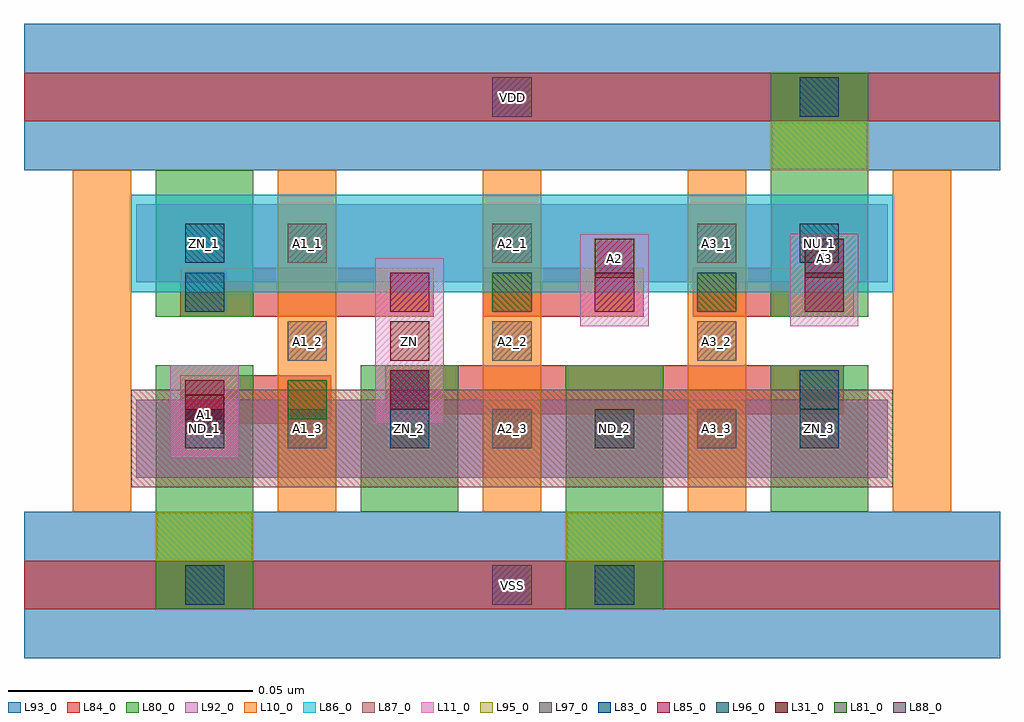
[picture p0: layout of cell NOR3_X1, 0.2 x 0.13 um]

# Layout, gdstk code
import gdstk
lib = gdstk.Library(unit=1e-6, precision=1e-09)
def R(c, l, rs):  # rectangles x0, y0, x1, y1
    for r in rs: c.add(gdstk.rectangle(r[:2], r[2:], *l))
def A(c, l, x, y, w, h, nx, ny, dx, dy):  # array of equal rectangles
    R(c, l, [(x+i*dx, y+j*dy, x+i*dx+w, y+j*dy+h) for i in range(nx) for j in range(ny)])
L10_0 = (10, 0)
L11_0 = (11, 0)
L31_0 = (31, 0)
L80_0 = (80, 0)
L81_0 = (81, 0)
L83_0 = (83, 0)
L84_0 = (84, 0)
L85_0 = (85, 0)
L86_0 = (86, 0)
L87_0 = (87, 0)
L88_0 = (88, 0)
L92_0 = (92, 0)
L93_0 = (93, 0)
L95_0 = (95, 0)
L96_0 = (96, 0)
L97_0 = (97, 0)

nor3_x1 = lib.new_cell('NOR3_X1')
A(nor3_x1, L10_0, -0.027, 0.015, 0.012, 0.07, 5, 1, 0.042, 0)
R(nor3_x1, L11_0, [(-0.007,0.026,0.007,0.045), (0.035,0.033,0.049,0.067), (0.035,0.033,0.049,0.067), (0.077,0.053,0.091,0.072), (0.12,0.053,0.134,0.072)])
R(nor3_x1, L31_0, [(-0.004,0.031,0.004,0.039), (0.038,0.046,0.046,0.054), (0.08,0.063,0.088,0.071), (0.123,0.063,0.131,0.071)])
A(nor3_x1, L80_0, -0.01, 0.015, 0.02, 0.03, 4, 1, 0.042, 0)
R(nor3_x1, L80_0, [(-0.01,-0.005,0.01,0.025), (0.074,-0.005,0.094,0.025), (-0.01,0.055,0.01,0.085), (0.116,0.055,0.136,0.085), (0.116,0.075,0.136,0.105)])
R(nor3_x1, L81_0, [(0.017,0.034,0.025,0.042), (0.059,0.056,0.067,0.064), (0.101,0.056,0.109,0.064)])
R(nor3_x1, L83_0, [(-0.004,-0.004,0.004,0.004), (0.08,-0.004,0.088,0.004), (0.038,0.036,0.046,0.044), (0.038,0.036,0.046,0.044), (0.122,0.036,0.13,0.044), (0.122,0.036,0.13,0.044), (-0.004,0.056,0.004,0.064), (-0.004,0.056,0.004,0.064), (0.122,0.096,0.13,0.104)])
R(nor3_x1, L84_0, [(-0.037,-0.005,0.163,0.005), (-0.005,0.033,0.026,0.043), (0.037,0.035,0.068,0.045), (0.037,0.035,0.068,0.045), (0.058,0.035,0.089,0.045), (0.058,0.035,0.089,0.045), (0.079,0.035,0.11,0.045), (0.079,0.035,0.11,0.045), (0.1,0.035,0.131,0.045), (0.1,0.035,0.131,0.045), (-0.005,0.055,0.026,0.065), (-0.005,0.055,0.026,0.065), (0.016,0.055,0.047,0.065), (0.016,0.055,0.047,0.065), (0.057,0.055,0.09,0.065), (0.1,0.055,0.133,0.065), (-0.037,0.095,0.163,0.105)])
R(nor3_x1, L85_0, [(-0.004,0.034,0.004,0.042), (0.038,0.036,0.046,0.044), (0.038,0.036,0.046,0.044), (0.038,0.056,0.046,0.064), (0.038,0.056,0.046,0.064), (0.08,0.056,0.088,0.064), (0.123,0.056,0.131,0.064)])
R(nor3_x1, L86_0, [(-0.015,0.06,0.141,0.08)])
R(nor3_x1, L87_0, [(-0.015,0.02,0.141,0.04)])
R(nor3_x1, L88_0, [(0.059,-0.004,0.067,0.004), (0.059,0.096,0.067,0.104)])
R(nor3_x1, L92_0, [(-0.014,0.022,0.14,0.038), (-0.014,0.062,0.14,0.078)])
R(nor3_x1, L93_0, [(-0.037,-0.015,0.163,0.015), (-0.037,0.085,0.163,0.115)])
R(nor3_x1, L95_0, [(-0.01,0.005,0.01,0.015), (0.074,0.005,0.094,0.015), (0.116,0.085,0.136,0.095)])
A(nor3_x1, L96_0, -0.004, 0.028, 0.008, 0.008, 4, 1, 0.042, 0)
R(nor3_x1, L96_0, [(-0.004,0.066,0.004,0.074), (0.122,0.066,0.13,0.074)])
A(nor3_x1, L97_0, 0.017, 0.028, 0.008, 0.008, 3, 2, 0.042, 0.018)
A(nor3_x1, L97_0, 0.017, 0.066, 0.008, 0.008, 3, 1, 0.042, 0)
nor3_x1.add(gdstk.Label('A3_1', (0.105,0.07), layer=97, texttype=0))
nor3_x1.add(gdstk.Label('A3_2', (0.105,0.05), layer=97, texttype=0))
nor3_x1.add(gdstk.Label('A3_3', (0.105,0.032), layer=97, texttype=0))
nor3_x1.add(gdstk.Label('A2_1', (0.063,0.07), layer=97, texttype=0))
nor3_x1.add(gdstk.Label('A2_2', (0.063,0.05), layer=97, texttype=0))
nor3_x1.add(gdstk.Label('A2_3', (0.063,0.032), layer=97, texttype=0))
nor3_x1.add(gdstk.Label('A1_3', (0.021,0.032), layer=97, texttype=0))
nor3_x1.add(gdstk.Label('A1_2', (0.021,0.05), layer=97, texttype=0))
nor3_x1.add(gdstk.Label('A1_1', (0.021,0.07), layer=97, texttype=0))
nor3_x1.add(gdstk.Label('NU_1', (0.126,0.07), layer=96, texttype=0))
nor3_x1.add(gdstk.Label('ZN_3', (0.126,0.032), layer=96, texttype=0))
nor3_x1.add(gdstk.Label('ZN_1', (0,0.07), layer=96, texttype=0))
nor3_x1.add(gdstk.Label('ND_1', (0,0.032), layer=96, texttype=0))
nor3_x1.add(gdstk.Label('ZN_2', (0.042,0.032), layer=96, texttype=0))
nor3_x1.add(gdstk.Label('ND_2', (0.084,0.032), layer=96, texttype=0))
nor3_x1.add(gdstk.Label('VDD', (0.063,0.1), layer=88, texttype=0))
nor3_x1.add(gdstk.Label('VSS', (0.063,0), layer=88, texttype=0))
nor3_x1.add(gdstk.Label('A3', (0.127,0.067), layer=31, texttype=0))
nor3_x1.add(gdstk.Label('A1', (0,0.035), layer=31, texttype=0))
nor3_x1.add(gdstk.Label('ZN', (0.042,0.05), layer=31, texttype=0))
nor3_x1.add(gdstk.Label('A2', (0.084,0.067), layer=31, texttype=0))

lib.write_gds('NOR3_X1.gds')
